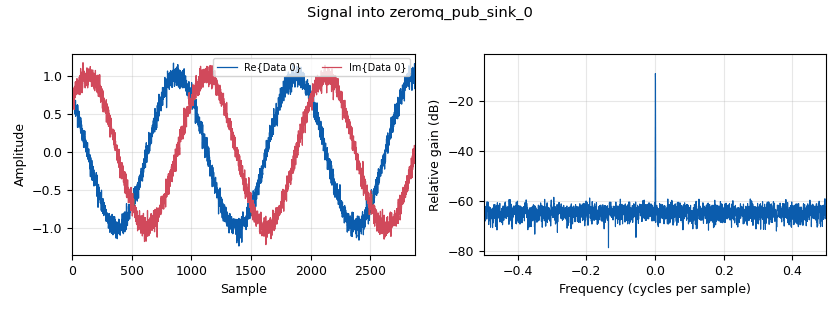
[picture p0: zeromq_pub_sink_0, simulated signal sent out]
options:
  parameters:
    author: muaddib
    generate_options: qt_gui
    id: siggen_xmlrpc_server
    output_language: python
    title: SIggen and XMLRPC Server
  states: {}

blocks:
- name: amp
  id: variable
  parameters:
    value: '1'
  states: {}
- name: freq
  id: variable
  parameters:
    value: '1000'
  states: {}
- name: samp_rate
  id: variable
  parameters:
    value: 1e6
  states: {}
- name: analog_noise_source_x_0
  id: analog_noise_source_x
  parameters:
    amp: '0.1'
    noise_type: analog.GR_GAUSSIAN
    seed: '0'
    type: complex
  states: {}
- name: analog_sig_source_x_0
  id: analog_sig_source_x
  parameters:
    amp: amp
    freq: freq
    offset: '0'
    phase: '0'
    samp_rate: samp_rate
    type: complex
    waveform: analog.GR_COS_WAVE
  states: {}
- name: blocks_add_xx_0
  id: blocks_add_xx
  parameters:
    type: complex
  states: {}
- name: blocks_throttle_0
  id: blocks_throttle
  parameters:
    samples_per_second: samp_rate
    type: complex
  states: {}
- name: xmlrpc_server_0
  id: xmlrpc_server
  parameters:
    addr: localhost
    port: '8000'
  states: {}
- name: zeromq_pub_sink_0
  id: zeromq_pub_sink
  parameters:
    address: tcp://127.0.0.1:5555
    pass_tags: 'True'
    timeout: '100'
    type: complex
  states: {}

connections:
- [analog_noise_source_x_0, '0', blocks_add_xx_0, '1']
- [analog_sig_source_x_0, '0', blocks_add_xx_0, '0']
- [blocks_add_xx_0, '0', blocks_throttle_0, '0']
- [blocks_throttle_0, '0', zeromq_pub_sink_0, '0']

metadata:
  file_format: 1
